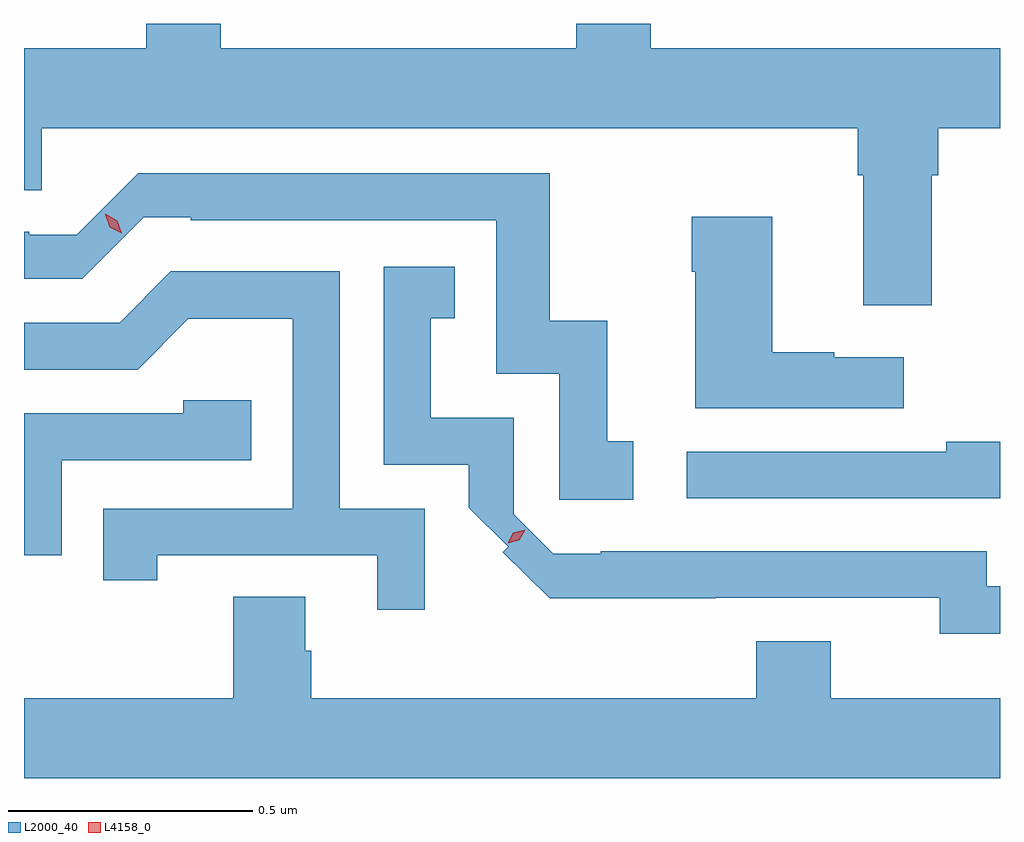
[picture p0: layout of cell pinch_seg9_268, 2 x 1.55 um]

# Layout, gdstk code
import gdstk
lib = gdstk.Library(unit=1e-6, precision=1e-09)
def P(c, l, *ps):  # polygons
    for p in ps: c.add(gdstk.Polygon(p, *l))
L2000_40 = (2000, 40)
L4158_0 = (4158, 0)

pinch_seg9_268 = lib.new_cell('pinch_seg9_268')
P(pinch_seg9_268, L2000_40, [(517.255,1226.96),(517.268,1226.96),(517.268,1227.056),(517.395,1227.056),(517.395,1227.22),(516.679,1227.22),(516.679,1227.271),(516.527,1227.271),(516.527,1227.22),(515.798,1227.22),(515.798,1227.271),(515.645,1227.271),(515.645,1227.22),(515.395,1227.22),(515.395,1226.929),(515.431,1226.929),(515.431,1227.056),(517.103,1227.056),(517.103,1226.96),(517.115,1226.96),(517.115,1226.694),(517.255,1226.694)],
  [(516.643,1226.415),(516.59,1226.415),(516.59,1226.662),(516.472,1226.662),(516.472,1226.964),(515.629,1226.964),(515.503,1226.838),(515.406,1226.838),(515.406,1226.844),(515.395,1226.844),(515.395,1226.748),(515.514,1226.748),(515.64,1226.874),(515.737,1226.874),(515.737,1226.868),(516.363,1226.868),(516.363,1226.553),(516.492,1226.553),(516.492,1226.295),(516.643,1226.295)],
  [(517.198,1226.587),(517.055,1226.587),(517.055,1226.597),(516.928,1226.597),(516.928,1226.875),(516.763,1226.875),(516.763,1226.762),(516.77,1226.762),(516.77,1226.483),(517.198,1226.483)],
  [(517.395,1226.118),(517.368,1226.118),(517.368,1226.19),(516.577,1226.19),(516.577,1226.184),(516.48,1226.184),(516.399,1226.265),(516.399,1226.463),(516.229,1226.463),(516.229,1226.667),(516.278,1226.667),(516.278,1226.773),(516.132,1226.773),(516.132,1226.367),(516.306,1226.367),(516.306,1226.279),(516.387,1226.199),(516.376,1226.188),(516.472,1226.093),(516.812,1226.093),(516.812,1226.094),(517.272,1226.094),(517.272,1226.021),(517.395,1226.021)],
  [(516.216,1226.277),(516.042,1226.277),(516.042,1226.763),(515.696,1226.763),(515.591,1226.658),(515.395,1226.658),(515.395,1226.562),(515.628,1226.562),(515.732,1226.666),(515.946,1226.666),(515.946,1226.277),(515.557,1226.277),(515.557,1226.13),(515.668,1226.13),(515.668,1226.181),(516.119,1226.181),(516.119,1226.07),(516.216,1226.07)],
  [(515.472,1226.376),(515.861,1226.376),(515.861,1226.499),(515.721,1226.499),(515.721,1226.472),(515.395,1226.472),(515.395,1226.181),(515.472,1226.181)],
  [(517.395,1226.414),(517.285,1226.414),(517.285,1226.394),(516.753,1226.394),(516.753,1226.298),(517.395,1226.298)],
  [(517.395,1225.888),(517.048,1225.888),(517.048,1226.005),(516.895,1226.005),(516.895,1225.888),(515.984,1225.888),(515.984,1225.986),(515.971,1225.986),(515.971,1226.096),(515.824,1226.096),(515.824,1225.888),(515.395,1225.888),(515.395,1225.724),(517.395,1225.724)])
P(pinch_seg9_268, L4158_0, [(516.386,1226.206),(516.386,1226.206),(516.398,1226.228),(516.422,1226.234),(516.422,1226.234),(516.422,1226.234),(516.41,1226.212),(516.386,1226.206)],
  [(515.595,1226.841),(515.571,1226.854),(515.561,1226.88),(515.561,1226.881),(515.561,1226.881),(515.586,1226.867),(515.595,1226.841),(515.595,1226.841)])

lib.write_gds('pinch_seg9_268.gds')
